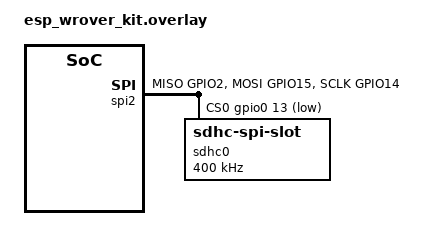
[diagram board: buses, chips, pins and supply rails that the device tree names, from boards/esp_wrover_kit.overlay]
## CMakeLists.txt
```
# SPDX-License-Identifier: Apache-2.0

cmake_minimum_required(VERSION 3.20.0)
find_package(Zephyr REQUIRED HINTS $ENV{ZEPHYR_BASE})
project(mass)

FILE(GLOB app_sources src/*.c)
target_sources(app PRIVATE ${app_sources})
```

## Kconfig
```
#
# Copyright (c) 2023 Nordic Semiconductor ASA
# Copyright (c) 2023 Intel Corporation

# SPDX-License-Identifier: Apache-2.0
#

mainmenu "FAT Filesystem Sample Application"

source "samples/subsys/fs/fat_fs/Kconfig.usb2"

config DISK_DRIVE_NAME
	string "Disk drive name to be used by application"
	default "SD"
	help
	  Name of the disk drive to be used by sample application.

config DEV_CONNECTION_WAIT
	int "Device connection wait value"
	default 1
	help
	  Before using devices like USB wait for the enumeration process to
	  complete. The wait value configured is in seconds.

config SAMPLE_FATFS_CREATE_SOME_ENTRIES
	bool "When no files are found on mounted partition create some"
	default y
	help
	  In case when no files could be listed, because there are none,
	  "some.dir" directory and "other.txt" file will be created
	  and list will run again to show them. This is useful when
	  showing how FAT works on non-SD devices like internal flash
	  or (Q)SPI connected memories, where it is not possible to
	  easily add files with use of other device.

source "Kconfig.zephyr"
```

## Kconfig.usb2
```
# Copyright (c) 2023 Intel Corporation
# SPDX-License-Identifier: Apache-2.0

menuconfig USB2_FAT_FS
	bool "Configure USB 2.0 for FAT FS sample application"
	default n
	help
	  Enable USB 2.0 drive to be mounted and used by FAT FS sample
	  application.

if USB2_FAT_FS

config DISK_DRIVE_NAME
	default "USB2"

config DEV_CONNECTION_WAIT
	default 10

config USB_HOST_CLASS_DRIVER
	default y

config USB_HOST_MSC_DRIVER
	default y

config DISK_DRIVER_USB2
	default y

endif # USB2_FAT_FS
```

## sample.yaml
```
sample:
  name: Fat filesystem sample
common:
  tags: filesystem
  modules:
    - fatfs
tests:
  sample.filesystem.fat_fs:
    depends_on: sdhc
    harness: console
    harness_config:
      fixture: fixture_sdhc
  sample.filesystem.fat_fs.overlay:
    platform_allow: nrf52840_blip
  sample.filesystem.fat_fs.adafruit_2_8_tft_touch_v2:
    depends_on:
      - arduino_spi
      - arduino_gpio
      - arduino_i2c
    platform_exclude:
      - stm32f769i_disco
      - pan1781_evb
      - pan1782_evb
      - frdm_k64f
      - mimxrt1010_evk
    extra_args: SHIELD=adafruit_2_8_tft_touch_v2
    tags: shield
    harness: console
    harness_config:
      fixture: fixture_shield_adafruit_2_8_tft_touch_v2
  sample.filesystem.fat_fs.nrf52840dk_nrf52840:
    build_only: true
    platform_allow: nrf52840dk_nrf52840
  sample.filesystem.fat_fs.nrf52840dk_nrf52840.qspi:
    build_only: true
    platform_allow: nrf52840dk_nrf52840
    extra_args:
      - OVERLAY_CONFIG=boards/nrf52840dk_nrf52840_qspi.conf
      - DTC_OVERLAY_FILE=boards/nrf52840dk_nrf52840_qspi.overlay
  sample.filesystem.fat_fs.has_sdmmc_disk:
    build_only: true
    filter: dt_compat_enabled("zephyr,sdmmc-disk")
    integration_platforms:
      - frdm_k64f
```

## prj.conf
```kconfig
CONFIG_SPI=y
CONFIG_SPI_1=y
CONFIG_DISK_ACCESS=y
CONFIG_DISK_ACCESS_SDHC=y
CONFIG_DISK_ACCESS_SPI_SDHC=y
CONFIG_LOG=y
CONFIG_FILE_SYSTEM=y
CONFIG_FAT_FILESYSTEM_ELM=y
CONFIG_PRINTK=y
CONFIG_MAIN_STACK_SIZE=2048
```

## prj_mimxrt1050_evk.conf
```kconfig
CONFIG_DISK_ACCESS=y
CONFIG_DISK_ACCESS_SDHC=y
CONFIG_LOG=y
CONFIG_FILE_SYSTEM=y
CONFIG_FAT_FILESYSTEM_ELM=y
CONFIG_PRINTK=y
```

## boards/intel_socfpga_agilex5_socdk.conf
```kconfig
# Copyright (c) 2023 Intel Corporation
# SPDX-License-Identifier: Apache-2.0

# Increase stack size for no optimization flag
CONFIG_MAIN_STACK_SIZE=6144
```

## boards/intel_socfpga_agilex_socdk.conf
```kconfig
# Copyright (c) 2023 Intel Corporation
# SPDX-License-Identifier: Apache-2.0

# Increase stack size for no optimization flag
CONFIG_MAIN_STACK_SIZE=4096
```

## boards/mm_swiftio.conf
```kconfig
CONFIG_DISK_ACCESS_SDHC=y
```

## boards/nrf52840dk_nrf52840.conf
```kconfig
#
# Copyright (c) 2023 Nordic Semiconductor ASA
#
# SPDX-License-Identifier: Apache-2.0
#

CONFIG_DISK_DRIVERS=y
CONFIG_DISK_DRIVER_FLASH=y
```

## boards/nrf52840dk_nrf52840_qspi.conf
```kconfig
#
# Copyright (c) 2023 Nordic Semiconductor ASA
#
# SPDX-License-Identifier: Apache-2.0
#

CONFIG_NORDIC_QSPI_NOR=y
# The mx25 erase page size
CONFIG_NORDIC_QSPI_NOR_FLASH_LAYOUT_PAGE_SIZE=4096
CONFIG_DISK_DRIVERS=y
CONFIG_DISK_DRIVER_FLASH=y
# There may be no files on internal SoC flash, so this Kconfig
# options has ben enabled to create some if listing does not
# find in the first place.
CONFIG_SAMPLE_FATFS_CREATE_SOME_ENTRIES=y
```

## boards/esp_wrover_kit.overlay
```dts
/*
 * Copyright (c) 2021 Espressif Systems (Shanghai) Co., Ltd.
 *
 * SPDX-License-Identifier: Apache-2.0
 */

&pinctrl {

	spim2_default: spim2_default {
		group1 {
			pinmux = <SPIM2_MISO_GPIO2>,
				 <SPIM2_MOSI_GPIO15>,
				 <SPIM2_SCLK_GPIO14>;
		};
	};

};

&spi2 {
	status = "okay";
	pinctrl-0 = <&spim2_default>;
	pinctrl-names = "default";
	cs-gpios = <&gpio0 13 GPIO_ACTIVE_LOW>;

	sdhc0: sdhc@0 {
		compatible = "zephyr,sdhc-spi-slot";
		reg = <0>;
		status = "okay";
		spi-max-frequency = <400000>;
		mmc {
                    compatible = "zephyr,sdmmc-disk";
                    status = "okay";
                };
        };
};
```

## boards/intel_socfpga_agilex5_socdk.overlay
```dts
/*
 * Copyright (C) 2023 Intel Corporation
 *
 * SPDX-License-Identifier: Apache-2.0
 */

&sdmmc {
	status = "okay";
};

&usbotg {
	status = "okay";
};
```

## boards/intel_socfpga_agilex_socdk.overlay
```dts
/*
 * Copyright (C) 2023 Intel Corporation
 *
 * SPDX-License-Identifier: Apache-2.0
 */

&sdmmc {
	status = "okay";
};

&usbotg0 {
	status = "okay";
};
```

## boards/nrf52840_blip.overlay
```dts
/*
 * Copyright (c) 2019 Tavish Naruka <tavishnaruka@gmail.com>
 *
 * SPDX-License-Identifier: Apache-2.0
 */

&spi1 {
        status = "okay";
        cs-gpios = <&gpio0 17 GPIO_ACTIVE_HIGH>;

        sdhc0: sdhc@0 {
                compatible = "zephyr,sdhc-spi-slot";
                reg = <0>;
                status = "okay";
                mmc {
                    compatible = "zephyr,sdmmc-disk";
                    status = "okay";
                };
                spi-max-frequency = <24000000>;
        };
};
```

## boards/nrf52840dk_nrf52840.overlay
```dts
/*
 * Copyright (c) 2023 Nordic Semiconductor ASA
 *
 * SPDX-License-Identifier: Apache-2.0
 */

/* Because FAT FS needs at least 64kiB partition and default
 * storage_partition is 32kiB for that board, we need to reorgatnize
 * partitions to get at least 64KiB.
 * This overlay removes image slot partitions and strips each of 64kiB,
 * and removes the storage partition to add the additional 2*64kiB to
 * it.
 */
/delete-node/ &slot0_partition;
/delete-node/ &slot1_partition;
/delete-node/ &storage_partition;

&flash0 {

	partitions {
		compatible = "fixed-partitions";
		#address-cells = <1>;
		#size-cells = <1>;

		slot0_partition: partition@c000 {
			reg = <0x0000C000 0x00066000>;
		};
		slot1_partition: partition@72000 {
			reg = <0x00072000 0x00066000>;
		};

		storage_partition: partition@d8000 {
			label = "storage";
			reg = <0x000d8000 0x00028000>;
		};
	};
};

/ {
	msc_disk0 {
		status="okay";
		compatible = "zephyr,flash-disk";
		partition = <&storage_partition>;
		disk-name = "SD";
		/* cache-size == page erase size */
		cache-size = <4096>;
	};
};
```

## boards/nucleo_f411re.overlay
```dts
/*
 * Copyright (c) 2019 Tavish Naruka <tavishnaruka@gmail.com>
 *
 * SPDX-License-Identifier: Apache-2.0
 */

&spi1 {
        status = "okay";
        cs-gpios = <&gpiob 6 GPIO_ACTIVE_HIGH>;

        sdhc0: sdhc@0 {
                compatible = "zephyr,mmc-spi-slot";
                reg = <0>;
                status = "okay";
                label = "SDHC0";
                spi-max-frequency = <24000000>;
        };
};
```

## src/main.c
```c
/*
 * Copyright (c) 2019 Tavish Naruka <tavishnaruka@gmail.com>
 * Copyright (c) 2023 Nordic Semiconductor ASA
 *
 * SPDX-License-Identifier: Apache-2.0
 */

/* Sample which uses the filesystem API and SDHC driver */

#include <zephyr/kernel.h>
#include <zephyr/device.h>
#include <zephyr/storage/disk_access.h>
#include <zephyr/logging/log.h>
#include <zephyr/fs/fs.h>
#include <ff.h>

LOG_MODULE_REGISTER(main);

#define DISK_DRIVE_NAME "SD"
#define DISK_MOUNT_PT "/"DISK_DRIVE_NAME":"
#define MAX_PATH 128
#define SOME_FILE_NAME "some.dat"
#define SOME_DIR_NAME "some"
#define SOME_REQUIRED_LEN MAX(sizeof(SOME_FILE_NAME), sizeof(SOME_DIR_NAME))

static FATFS fat_fs;
/* mounting info */
static struct fs_mount_t mp = {
	.type = FS_FATFS,
	.fs_data = &fat_fs,
};

static int lsdir(const char *path);
#ifdef CONFIG_SAMPLE_FATFS_CREATE_SOME_ENTRIES
static bool create_some_entries(const char *base_path)
{
	char path[MAX_PATH];
	struct fs_file_t file;
	int base = strlen(base_path);

	fs_file_t_init(&file);

	if (base >= (sizeof(path) - SOME_REQUIRED_LEN)) {
		LOG_ERR("Not enough concatenation buffer to create file paths");
		return false;
	}

	LOG_INF("Creating some dir entries in %s", base_path);
	strncpy(path, base_path, sizeof(path));

	path[base++] = '/';
	path[base] = 0;
	strcat(&path[base], SOME_FILE_NAME);

	if (fs_open(&file, path, FS_O_CREATE) != 0) {
		LOG_ERR("Failed to create file %s", path);
		return false;
	}
	fs_close(&file);

	path[base] = 0;
	strcat(&path[base], SOME_DIR_NAME);

	if (fs_mkdir(path) != 0) {
		LOG_ERR("Failed to create dir %s", path);
		/* If code gets here, it has at least successes to create the
		 * file so allow function to return true.
		 */
	}
	return true;
}
#endif

/*
*  Note the fatfs library is able to mount only strings inside _VOLUME_STRS
*  in ffconf.h
*/
static const char *disk_mount_pt = DISK_MOUNT_PT;

int main(void)
{
	/* raw disk i/o */
	do {
		static const char *disk_pdrv = DISK_DRIVE_NAME;
		uint64_t memory_size_mb;
		uint32_t block_count;
		uint32_t block_size;

		if (disk_access_init(disk_pdrv) != 0) {
			LOG_ERR("Storage init ERROR!");
			break;
		}

		if (disk_access_ioctl(disk_pdrv,
				DISK_IOCTL_GET_SECTOR_COUNT, &block_count)) {
			LOG_ERR("Unable to get sector count");
			break;
		}
		LOG_INF("Block count %u", block_count);

		if (disk_access_ioctl(disk_pdrv,
				DISK_IOCTL_GET_SECTOR_SIZE, &block_size)) {
			LOG_ERR("Unable to get sector size");
			break;
		}
		printk("Sector size %u\n", block_size);

		memory_size_mb = (uint64_t)block_count * block_size;
		printk("Memory Size(MB) %u\n", (uint32_t)(memory_size_mb >> 20));
	} while (0);

	mp.mnt_point = disk_mount_pt;

	int res = fs_mount(&mp);

	if (res == FR_OK) {
		printk("Disk mounted.\n");
		if (lsdir(disk_mount_pt) == 0) {
#ifdef CONFIG_SAMPLE_FATFS_CREATE_SOME_ENTRIES
			if (create_some_entries(disk_mount_pt)) {
				lsdir(disk_mount_pt);
			}
#endif
		}
	} else {
		printk("Error mounting disk.\n");
	}

	while (1) {
		k_sleep(K_MSEC(1000));
	}
	return 0;
}

/* List dir entry by path
 *
 * @param path Absolute path to list
 *
 * @return Negative errno code on error, number of listed entries on
 *         success.
 */
static int lsdir(const char *path)
{
	int res;
	struct fs_dir_t dirp;
	static struct fs_dirent entry;
	int count = 0;

	fs_dir_t_init(&dirp);

	/* Verify fs_opendir() */
	res = fs_opendir(&dirp, path);
	if (res) {
		printk("Error opening dir %s [%d]\n", path, res);
		return res;
	}

	printk("\nListing dir %s ...\n", path);
	for (;;) {
		/* Verify fs_readdir() */
		res = fs_readdir(&dirp, &entry);

		/* entry.name[0] == 0 means end-of-dir */
		if (res || entry.name[0] == 0) {
			break;
		}

		if (entry.type == FS_DIR_ENTRY_DIR) {
			printk("[DIR ] %s\n", entry.name);
		} else {
			printk("[FILE] %s (size = %zu)\n",
				entry.name, entry.size);
		}
		count++;
	}

	/* Verify fs_closedir() */
	fs_closedir(&dirp);
	if (res == 0) {
		res = count;
	}

	return res;
}
```
